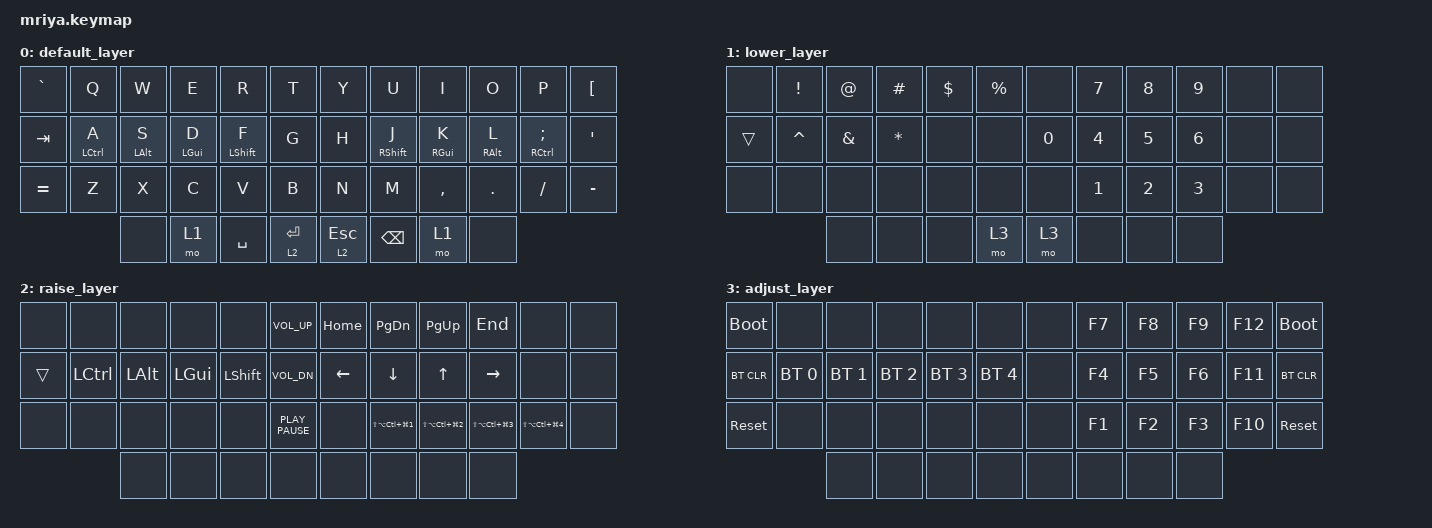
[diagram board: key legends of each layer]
/*
 * Copyright (c) 2023 Andrei Gaevskii
 *
 * SPDX-License-Identifier: MIT
 */

#include <behaviors.dtsi>
#include <dt-bindings/zmk/bt.h>
#include <dt-bindings/zmk/keys.h>
#include "keypos_def/keypos_44keys.h"

#define DEF 0
#define LWR 1
#define RSE 2
#define ADJ 3

&lt { quick_tap_ms = <200>; };

&mt { quick_tap_ms = <200>; };

/ {
    behaviors {
        lh_pht: left_positional_hold_tap {
            compatible = "zmk,behavior-hold-tap";
            #binding-cells = <2>;
            tapping-term-ms = <200>;
            quick-tap-ms = <150>;
            flavor = "balanced";
            bindings = <&kp>, <&kp>;
            hold-trigger-key-positions = <KEYS_R THUMBS>;
            hold-trigger-on-release;
        };

        rh_pht: right_positional_hold_tap {
            compatible = "zmk,behavior-hold-tap";
            #binding-cells = <2>;
            tapping-term-ms = <200>;
            quick-tap-ms = <150>;
            flavor = "balanced";
            bindings = <&kp>, <&kp>;
            hold-trigger-key-positions = <KEYS_L THUMBS>;
            hold-trigger-on-release;
        };
    };

    combos {
        compatible = "zmk,combos";

        lpar {
            bindings = <&kp LPAR>;
            key-positions = <15 16>;
            layers = <0>;
        };

        left_bracket {
            bindings = <&kp LEFT_BRACKET>;
            key-positions = <14 15>;
            layers = <0>;
        };

        rpar {
            bindings = <&kp RPAR>;
            key-positions = <19 20>;
            layers = <0>;
        };

        right_bracket {
            bindings = <&kp RIGHT_BRACKET>;
            key-positions = <20 21>;
            layers = <0>;
        };

        caps_word {
            bindings = <&caps_word>;
            key-positions = <16 19>;
            layers = <0>;
        };

        back_slash {
            bindings = <&kp BACKSLASH>;
            key-positions = <33 34>;
            layers = <0>;
        };
    };

    keymap {
        compatible = "zmk,keymap";

        default_layer {
            bindings = <
  &kp GRAVE  &kp Q            &kp W           &kp E           &kp R             &kp T        &kp Y      &kp U             &kp I           &kp O           &kp P               &kp LBKT
  &kp TAB    &lh_pht LCTRL A  &lh_pht LALT S  &lh_pht LGUI D  &lh_pht LSHIFT F  &kp G        &kp H      &rh_pht RSHIFT J  &rh_pht RGUI K  &rh_pht RALT L  &rh_pht RCTRL SEMI  &kp SQT
  &kp EQUAL  &kp Z            &kp X           &kp C           &kp V             &kp B        &kp N      &kp M             &kp COMMA       &kp DOT         &kp FSLH            &kp MINUS
                              &none           &mo 1           &kp SPACE         &lt 2 RET    &lt 2 ESC  &kp BACKSPACE     &mo 1           &none
            >;
        };

        lower_layer {
            bindings = <
  &none   &kp EXCL   &kp AT    &kp HASH   &kp DOLLAR  &kp PRCNT    &none   &kp N7  &kp N8  &kp N9  &none  &none
  &trans  &kp CARET  &kp AMPS  &kp ASTRK  &none       &none        &kp N0  &kp N4  &kp N5  &kp N6  &none  &none
  &none   &none      &none     &none      &none       &none        &none   &kp N1  &kp N2  &kp N3  &none  &none
                     &none     &none      &none       &mo 3        &mo 3   &none   &none   &none
            >;
        };

        raise_layer {
            bindings = <
  &none   &none      &none     &none     &none       &kp C_VOL_UP        &kp HOME     &kp PAGE_DOWN                 &kp PG_UP                     &kp END                       &none                           &none
  &trans  &kp LCTRL  &kp LALT  &kp LGUI  &kp LSHIFT  &kp C_VOL_DN        &kp LEFT     &kp DOWN_ARROW                &kp UP                        &kp RIGHT                     &none                           &none
  &none   &none      &none     &none     &none       &kp K_PLAY_PAUSE    &none        &kp LS(LA(LC(LG(NUMBER_1))))  &kp LS(LA(LC(LG(NUMBER_2))))  &kp LS(LA(LC(LG(NUMBER_3))))  &kp LS(LA(LC(LG(NUMBER_4))))    &none
                     &none     &none     &none       &none               &none        &none                         &none                         &none
            >;
        };

        adjust_layer {
            bindings = <
  &bootloader  &none         &none         &none         &none         &none           &none  &kp F7  &kp F8  &kp F9  &kp F12  &bootloader
  &bt BT_CLR   &bt BT_SEL 0  &bt BT_SEL 1  &bt BT_SEL 2  &bt BT_SEL 3  &bt BT_SEL 4    &none  &kp F4  &kp F5  &kp F6  &kp F11  &bt BT_CLR
  &sys_reset   &none         &none         &none         &none         &none           &none  &kp F1  &kp F2  &kp F3  &kp F10  &sys_reset
                             &none         &none         &none         &none           &none  &none   &none   &none
            >;
        };
    };
};
